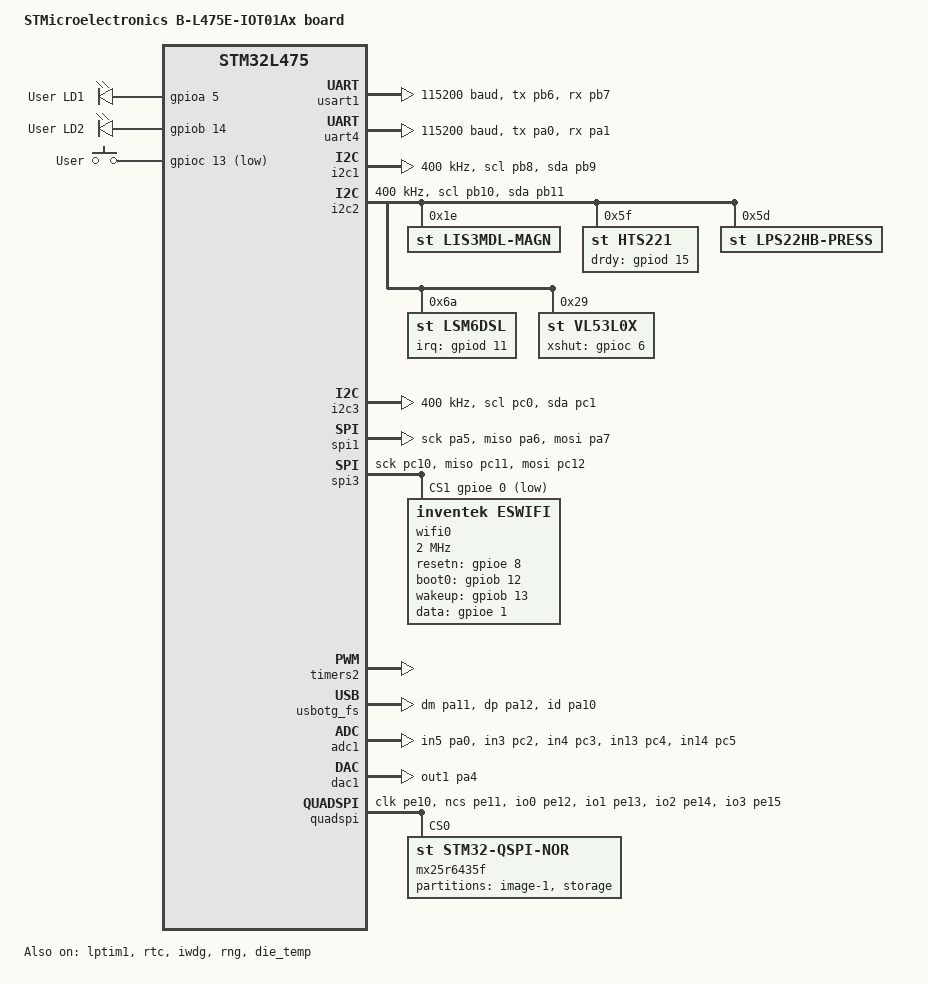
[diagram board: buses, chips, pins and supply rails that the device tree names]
/*
 * Copyright (c) 2017 Linaro Limited
 *
 * SPDX-License-Identifier: Apache-2.0
 */

/dts-v1/;
#include <st/l4/stm32l475Xg.dtsi>
#include <st/l4/stm32l475v(c-e-g)tx-pinctrl.dtsi>
#include "arduino_r3_connector.dtsi"

/ {
	model = "STMicroelectronics B-L475E-IOT01Ax board";
	compatible = "st,stm32l475-disco-iot";

	chosen {
		zephyr,console = &usart1;
		zephyr,shell-uart = &usart1;
		zephyr,sram = &sram0;
		zephyr,flash = &flash0;
		zephyr,code-partition = &slot0_partition;
		zephyr,flash-controller = &mx25r6435f;
	};

	leds {
		compatible = "gpio-leds";
		green_led_1: led_1 {
			gpios = <&gpioa 5 GPIO_ACTIVE_HIGH>;
			label = "User LD1";
		};
		green_led_2: led_2 {
			gpios = <&gpiob 14 GPIO_ACTIVE_HIGH>;
			label = "User LD2";
		};
	};

	gpio_keys {
		compatible = "gpio-keys";
		user_button: button_0 {
			label = "User";
			gpios = <&gpioc 13 GPIO_ACTIVE_LOW>;
		};
	};

	power-states {
		stop0: state0 {
			compatible = "zephyr,power-state";
			power-state-name = "suspend-to-idle";
			substate-id = <1>;
			min-residency-us = <500>;
		};
		stop1: state1 {
			compatible = "zephyr,power-state";
			power-state-name = "suspend-to-idle";
			substate-id = <2>;
			min-residency-us = <700>;
		};
		stop2: state2 {
			compatible = "zephyr,power-state";
			power-state-name = "suspend-to-idle";
			substate-id = <3>;
			min-residency-us = <1000>;
		};
	};

	aliases {
		led0 = &green_led_2;
		led1 = &green_led_1;
		sw0 = &user_button;
		eswifi0 = &wifi0;
		watchdog0 = &iwdg;
		spi-flash0 = &mx25r6435f;
		accel0 = &lsm6dsl;
	};
};

&cpu0 {
	cpu-power-states = <&stop0 &stop1 &stop2>;
};

&clk_lsi {
	status = "okay";
};

&clk_lse {
	status = "okay";
};

&clk_hsi {
	status = "okay";
};

&clk_msi {
	status = "okay";
	msi-pll-mode;
	msi-range = <11>; /* 48MHz USB bus clk */
};

&pll {
	div-m = <1>;
	mul-n = <20>;
	div-p = <7>;
	div-q = <2>;
	div-r = <4>;
	clocks = <&clk_hsi>;
	status = "okay";
};

&rcc {
	clocks = <&pll>;
	clock-frequency = <DT_FREQ_M(80)>;
	ahb-prescaler = <1>;
	apb1-prescaler = <1>;
	apb2-prescaler = <1>;
};

&usart1 {
	current-speed = <115200>;
	pinctrl-0 = <&usart1_tx_pb6 &usart1_rx_pb7>;
	pinctrl-names = "default";
	status = "okay";
};

&uart4 {
	pinctrl-0 = <&uart4_tx_pa0 &uart4_rx_pa1>;
	pinctrl-names = "default";
	current-speed = <115200>;
	status = "okay";
};

&i2c1 {
	pinctrl-0 = <&i2c1_scl_pb8 &i2c1_sda_pb9>;
	pinctrl-names = "default";
	status = "okay";
	clock-frequency = <I2C_BITRATE_FAST>;
};

&i2c2 {
	pinctrl-0 = <&i2c2_scl_pb10 &i2c2_sda_pb11>;
	pinctrl-names = "default";
	status = "okay";
	clock-frequency = <I2C_BITRATE_FAST>;

	lis3mdl-magn@1e {
		compatible = "st,lis3mdl-magn";
		reg = <0x1e>;
	};

	hts221@5f {
		compatible = "st,hts221";
		reg = <0x5f>;
		drdy-gpios = <&gpiod 15 GPIO_ACTIVE_HIGH>;
	};

	lps22hb-press@5d {
		compatible = "st,lps22hb-press";
		reg = <0x5d>;
	};

	lsm6dsl: lsm6dsl@6a {
		compatible = "st,lsm6dsl";
		reg = <0x6a>;
		irq-gpios = <&gpiod 11 GPIO_ACTIVE_HIGH>;
	};

	vl53l0x@29 {
		compatible = "st,vl53l0x";
		reg = <0x29>;
		xshut-gpios = <&gpioc 6 GPIO_ACTIVE_HIGH>;
	};
};

&i2c3 {
	pinctrl-0 = <&i2c3_scl_pc0 &i2c3_sda_pc1>;
	pinctrl-names = "default";
	status = "okay";
	clock-frequency = <I2C_BITRATE_FAST>;
};

&spi1 {
	pinctrl-0 = <&spi1_sck_pa5 &spi1_miso_pa6 &spi1_mosi_pa7>;
	pinctrl-names = "default";
	cs-gpios = <&gpioa 2 (GPIO_ACTIVE_LOW | GPIO_PULL_UP)>;
	status = "okay";
};

&spi3_miso_pc11 { slew-rate = "very-high-speed"; };

&spi3 {
	status = "okay";

	pinctrl-0 = <&spi3_sck_pc10 &spi3_miso_pc11 &spi3_mosi_pc12>;
	pinctrl-names = "default";

	cs-gpios = <&gpiod 13 (GPIO_ACTIVE_LOW | GPIO_PULL_UP)>,
		   <&gpioe 0 GPIO_ACTIVE_LOW>;

	spbtle-rf@0 {
		compatible = "zephyr,bt-hci-spi";
		reg = <0>;
		reset-gpios = <&gpioa 8 (GPIO_ACTIVE_LOW | GPIO_PULL_UP)>;
		irq-gpios = <&gpioe 6 (GPIO_ACTIVE_HIGH | GPIO_PULL_DOWN)>;
		spi-max-frequency = <2000000>;
	};

	wifi0: ism43362@1 {
		compatible = "inventek,eswifi";
		spi-max-frequency = <2000000>;
		reg = <1>;
		resetn-gpios = <&gpioe 8 GPIO_ACTIVE_HIGH>;
		boot0-gpios = <&gpiob 12 GPIO_ACTIVE_HIGH>;
		wakeup-gpios = <&gpiob 13 GPIO_ACTIVE_HIGH>;
		data-gpios = <&gpioe 1 GPIO_ACTIVE_HIGH>;
	};
};

&flash0 {
	partitions {
		compatible = "fixed-partitions";
		#address-cells = <1>;
		#size-cells = <1>;

		boot_partition: partition@0 {
			label = "mcuboot";
			reg = <0x00000000 DT_SIZE_K(64)>;
			read-only;
		};

		/*
		 * The flash starting at offset 0x10000 and ending at
		 * offset 0x1ffff is reserved for use by the application.
		 */

		slot0_partition: partition@20000 {
			label = "image-0";
			reg = <0x00020000 DT_SIZE_K(864)>;
		};

		scratch_partition: partition@f8000 {
			label = "image-scratch";
			reg = <0x000F8000 DT_SIZE_K(16)>;
		};
	};
};

&timers2 {
	status = "okay";

	pwm2: pwm {
		status = "okay";
		pinctrl-0 = <&tim2_ch1_pa15>;
		pinctrl-names = "default";
	};
};

&lptim1 {
	clocks = <&rcc STM32_CLOCK_BUS_APB1 0x80000000>,
		 <&rcc STM32_SRC_LSE LPTIM1_SEL(3)>;
	status = "okay";
};

&rtc {
	clocks = <&rcc STM32_CLOCK_BUS_APB1 0x10000000>,
		 <&rcc STM32_SRC_LSI RTC_SEL(2)>;
	status = "okay";
};

zephyr_udc0: &usbotg_fs {
	pinctrl-0 = <&usb_otg_fs_dm_pa11 &usb_otg_fs_dp_pa12
		     &usb_otg_fs_id_pa10>;
	pinctrl-names = "default";
	status = "okay";
};

&iwdg {
	status = "okay";
};

&rng {
	status = "okay";
};

&adc1 {
	pinctrl-0 = <&adc1_in5_pa0 &adc1_in3_pc2
		     &adc1_in4_pc3 &adc1_in13_pc4
		     &adc1_in14_pc5>;
	pinctrl-names = "default";
	status = "okay";
};

&die_temp {
	status = "okay";
};

&dac1 {
	status = "okay";
	pinctrl-0 = <&dac1_out1_pa4>;
	pinctrl-names = "default";
};

&dma1 {
	status = "okay";
};

&quadspi {
	pinctrl-0 = <&quadspi_clk_pe10 &quadspi_ncs_pe11
		     &quadspi_bk1_io0_pe12 &quadspi_bk1_io1_pe13
		     &quadspi_bk1_io2_pe14 &quadspi_bk1_io3_pe15>;
	pinctrl-names = "default";
	dmas = <&dma1 5 5 0x0000>;
	dma-names = "tx_rx";

	status = "okay";

	mx25r6435f: qspi-nor-flash@0 {
		compatible = "st,stm32-qspi-nor";
		reg = <0>;
		qspi-max-frequency = <50000000>;
		/* 64 Megabits = 8 Megabytes */
		size = <0x4000000>;
		status = "okay";

		partitions {
			compatible = "fixed-partitions";
			#address-cells = <1>;
			#size-cells = <1>;

			slot1_partition: partition@0 {
				label = "image-1";
				reg = <0x00000000 DT_SIZE_K(864)>;
				};

			storage_partition: partition@d8000 {
				label = "storage";
				reg = <0x000d8000 DT_SIZE_M(7)>;
			};
		};
	};
};
